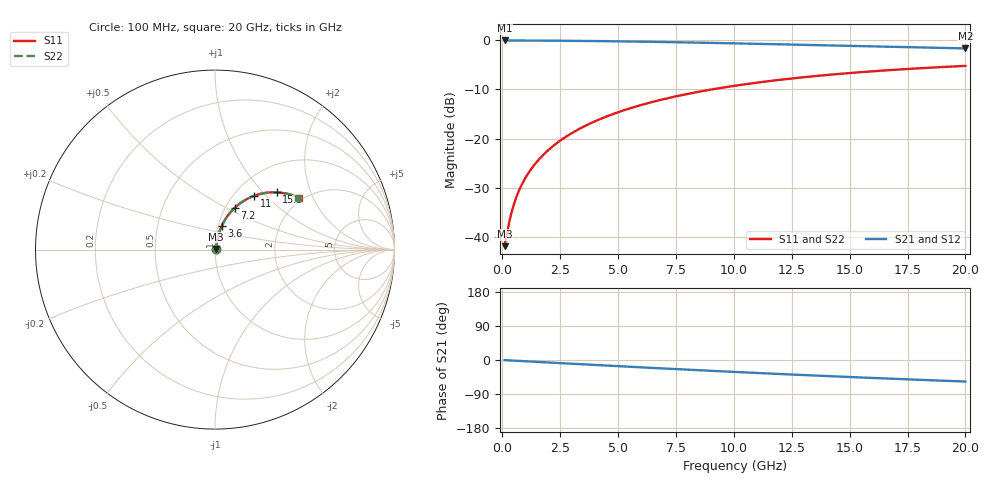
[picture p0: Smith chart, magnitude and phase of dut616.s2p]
! Touchstone file exported from HFSS 2026.1.0
!  File:  C:/ffzhzh/LocalFiles/Ansys_Project_Files/temp_train_TMRDL_616_1783008904_46388.aedt
!  Generated:  12:16:50 AM Jul  3, 2026
!  Design:  TMRDL
!  Project:  temp_train_TMRDL_616_1783008904_46388
! Variables:
!  h_bsmrdl = 2um
!  h_ox = 20um
!  h_rdl = 5um
!  h_sub = 80um
!  h_tmrdl = 2.12um
!  h_tsv = 80um
!  h_via = 3um
!  l_bsmrdl = 300um
!  l_sub = 1225.8um
!  l_tmrdl = 825.8um
!  m_sub = 200um
!  pitch = 55.36um
!  r_tsv = 6um
!  s_tmrdl = 10um
!  w_bsmrdl = 18um
!  w_sub = 500um
!  w_tmrdl = 20.48um
!  x_tsv_center1 = 836.04um
!  x_tsv_center2 = 1154.04um
!  x_tsv_center3 = 2000.32um
!  x_tsv_center4 = 2318.32um
!  x_tsv_center5 = 3164.6um
!  x_tsv_center6 = 3482.6um
# GHz S MA R 50.000000
! Terminal data exported
! Port[1] = TM_RDL1_1_T1
! Port[2] = TM_RDL1_1_T2
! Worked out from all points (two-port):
!   200 points, 100 MHz to 20 GHz, reference 50 ohm
!   highest |S21| = -0.06 dB at 100 MHz (marker M1); lowest = -1.7 dB at 20 GHz (marker M2)
!   |S21| within 3 dB of the highest: start of sweep to end of sweep
!   lowest |S11| = -41.9 dB at 100 MHz (marker M3), VSWR 1.02, Z = 50.7 + j0.413 ohm
!   |S11| at or under -10 dB: start of sweep to 9.07 GHz
!   |S22| runs from -41.9 to -5.2 dB; largest |S21 - S12| = 1.1e-14
!   S11 on the Smith chart (normalised r, x): 100 MHz: 1.01, +0.01; 3.6 GHz: 1.04, +0.28; 7.2 GHz: 1.10, +0.55; 11 GHz: 1.23, +0.85; 15.3 GHz: 1.47, +1.20; 20 GHz: 1.90, +1.56
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0.1  0.008053 30.4  0.9931 -0.3  0.9931 -0.3  0.008053 30.4
! Gamma 0 0 0 0
! Port Impedance 50 0 50 0
0.3  0.01418 58.3  0.9927 -1.0  0.9927 -1.0  0.01418 58.3
0.4  0.01778 63.9  0.9924 -1.4  0.9924 -1.4  0.01778 63.9
0.5  0.02144 67.4  0.9922 -1.7  0.9922 -1.7  0.02144 67.5
0.6  0.02513 69.8  0.9919 -2.0  0.9919 -2.0  0.02513 69.8
0.8  0.0325 72.8  0.9914 -2.7  0.9914 -2.7  0.0325 72.8
1.1  0.04354 75.1  0.9906 -3.7  0.9906 -3.7  0.04354 75.1
1.6  0.06198 76.5  0.9893 -5.3  0.9893 -5.3  0.06198 76.5
2.1  0.08044 76.6  0.9878 -6.9  0.9878 -6.9  0.08044 76.6
2.7  0.1025 76.0  0.9856 -8.9  0.9856 -8.9  0.1025 76.0
3.5  0.1317 74.4  0.982 -11.5  0.982 -11.5  0.1317 74.5
3.6  0.1353 74.2  0.9815 -11.8  0.9815 -11.8  0.1353 74.2
5  0.185 70.7  0.973 -16.3  0.973 -16.3  0.185 70.7
6.8  0.2458 65.7  0.9592 -21.9  0.9592 -21.9  0.2458 65.8
7.2  0.2587 64.6  0.9557 -23.1  0.9557 -23.1  0.2587 64.7
8.6  0.3023 60.6  0.9426 -27.3  0.9426 -27.3  0.3023 60.7
10.1  0.3457 56.5  0.9273 -31.7  0.9273 -31.7  0.3456 56.5
11  0.37 54.0  0.9178 -34.2  0.9178 -34.2  0.37 54.1
13.4  0.4289 47.6  0.8916 -40.8  0.8916 -40.8  0.4288 47.7
15.3  0.4692 42.8  0.871 -45.7  0.871 -45.7  0.4692 42.9
16.7  0.4956 39.4  0.8562 -49.1  0.8562 -49.1  0.4956 39.5
20  0.5475 31.8  0.8242 -56.9  0.8242 -56.9  0.5474 32.0
